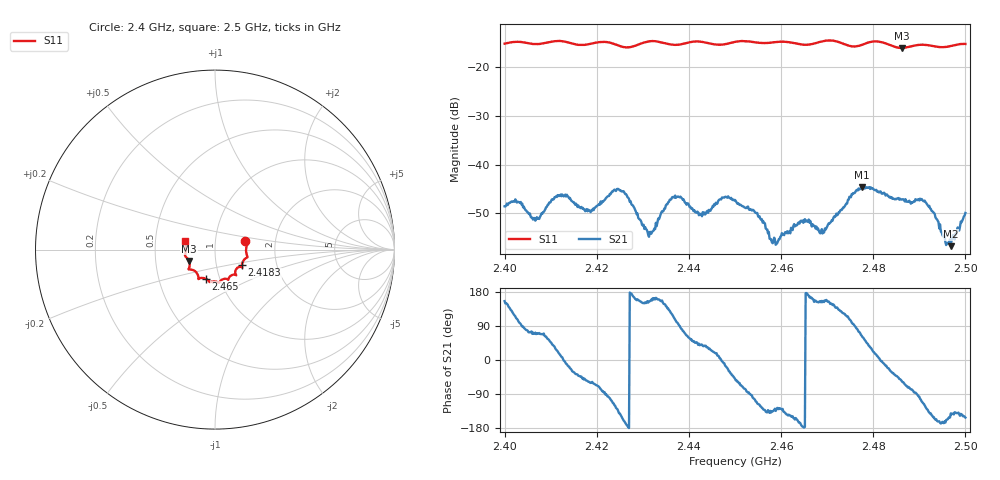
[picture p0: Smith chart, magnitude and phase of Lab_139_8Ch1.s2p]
# Hz S RI R 50
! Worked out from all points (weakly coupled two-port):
!   601 points, 2.4 GHz to 2.5 GHz, reference 50 ohm
!   highest |S21| = -44.63 dB at 2.4775 GHz (marker M1); lowest = -56.8 dB at 2.4968 GHz (marker M2)
!   lowest |S11| = -16.0 dB at 2.4862 GHz (marker M3), VSWR 1.38, Z = 37.1 - j4.8 ohm
!   |S11| at or under -10 dB: start of sweep to end of sweep
!   S12 and S22 are empty: the file has one direction only
!   S11 on the Smith chart (normalised r, x): 2.4 GHz: 1.40, +0.13; 2.4183 GHz: 1.33, -0.24; 2.465 GHz: 0.86, -0.29; 2.5 GHz: 0.71, +0.07
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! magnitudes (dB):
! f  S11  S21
! 2.4 GHz  -15.1  -48.6
! 2.4067 GHz  -15.2  -51.5
! 2.412 GHz  -14.6  -46.5
! 2.4167 GHz  -15.4  -48.7
! 2.4183 GHz  -15.2  -49.5
! 2.4248 GHz  -15.6  -45.1
! 2.4313 GHz  -14.7  -54.8
! 2.4333 GHz  -14.7  -51.1
! 2.4368 GHz  -15.4  -46.8
! 2.4427 GHz  -14.8  -50.2
! 2.45 GHz  -14.8  -47.3
! 2.4543 GHz  -14.9  -49.8
! 2.4585 GHz  -14.9  -55.0
! 2.465 GHz  -15.4  -51.4
! 2.4667 GHz  -15.2  -52.7
! 2.4695 GHz  -14.6  -53.1
! 2.4775 GHz  -15.4  -44.6
! 2.4833 GHz  -15.3  -46.5
! 2.4862 GHz  -16.0  -47.2
! 2.491 GHz  -15.4  -47.5
! 2.4968 GHz  -15.6  -56.8
! 2.5 GHz  -15.2  -49.9
